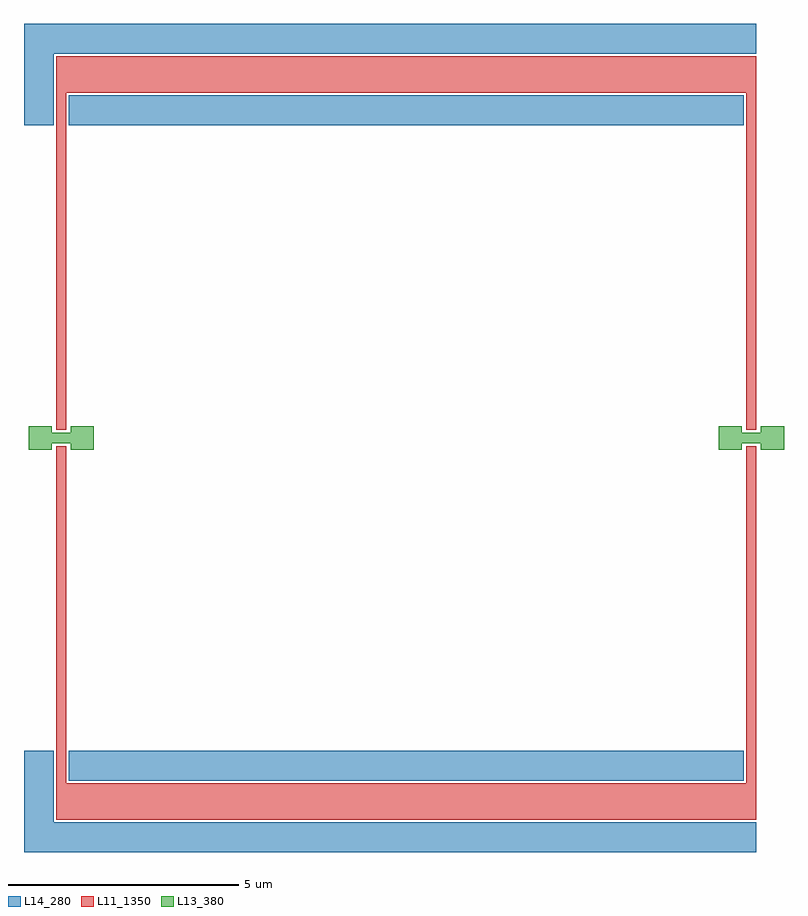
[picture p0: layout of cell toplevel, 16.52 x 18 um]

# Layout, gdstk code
import gdstk
lib = gdstk.Library(unit=1e-6, precision=1e-09)
def R(c, l, rs):  # rectangles x0, y0, x1, y1
    for r in rs: c.add(gdstk.rectangle(r[:2], r[2:], *l))
def P(c, l, *ps):  # polygons
    for p in ps: c.add(gdstk.Polygon(p, *l))
L11_1350 = (11, 1350)
L13_380 = (13, 380)
L14_280 = (14, 280)

boolean = lib.new_cell('boolean')
R(boolean, L11_1350, [(-0.11,-7.5,0.11,-0.175), (-0.11,0.175,0.11,7.5)])

junction = lib.new_cell('Junction')
junction.add(gdstk.Reference(boolean, (0,0)))

boolean002 = lib.new_cell('boolean002')
P(boolean002, L13_380, [(-0.71,0.25),(-0.71,-0.25),(-0.21,-0.25),(-0.21,-0.11),(0.21,-0.11),(0.21,-0.25),(0.71,-0.25),(0.71,0.25),(0.21,0.25),(0.21,0.11),(-0.21,0.11),(-0.21,0.25)])

josephson_junction = lib.new_cell('Josephson Junction')
josephson_junction.add(gdstk.Reference(junction, (0,0)))
josephson_junction.add(gdstk.Reference(boolean002, (0,0)))

boolean005 = lib.new_cell('boolean005')
R(boolean005, L11_1350, [(-0.11,-7.5,0.11,-0.175), (-0.11,0.175,0.11,7.5)])

junction004 = lib.new_cell('Junction004')
junction004.add(gdstk.Reference(boolean005, (0,0)))

boolean006 = lib.new_cell('boolean006')
P(boolean006, L13_380, [(-0.71,0.25),(-0.71,-0.25),(-0.21,-0.25),(-0.21,-0.11),(0.21,-0.11),(0.21,-0.25),(0.71,-0.25),(0.71,0.25),(0.21,0.25),(0.21,0.11),(-0.21,0.11),(-0.21,0.25)])

josephson_junction003 = lib.new_cell('Josephson Junction003')
josephson_junction003.add(gdstk.Reference(junction004, (0,0)))
josephson_junction003.add(gdstk.Reference(boolean006, (0,0)))

rectangle = lib.new_cell('rectangle')
R(rectangle, L11_1350, [(0,0,15.22,0.8)])

island = lib.new_cell('Island')
island.add(gdstk.Reference(rectangle, (0,0)))

top_island = lib.new_cell('Top island')
top_island.add(gdstk.Reference(island, (-0.11,7.5)))

rectangle008 = lib.new_cell('rectangle008')
R(rectangle008, L11_1350, [(0,0,15.22,0.8)])

island007 = lib.new_cell('Island007')
island007.add(gdstk.Reference(rectangle008, (0,0)))

bot_island = lib.new_cell('Bot island')
bot_island.add(gdstk.Reference(island007, (-0.11,-8.3)))

boolean010 = lib.new_cell('boolean010')
R(boolean010, L14_280, [(0.16,-7.45,14.84,-6.8), (0.16,6.8,14.84,7.45)])
P(boolean010, L14_280, [(-0.16,8.35),(15.11,8.35),(15.11,9),(-0.81,9),(-0.81,6.8),(-0.16,6.8)],
  [(-0.81,-6.8),(-0.81,-9),(15.11,-9),(15.11,-8.35),(-0.16,-8.35),(-0.16,-6.8)])

liftoff_undercut009 = lib.new_cell('Liftoff undercut009')
liftoff_undercut009.add(gdstk.Reference(boolean010, (0,0)))

liftoff_undercut = lib.new_cell('Liftoff undercut')
liftoff_undercut.add(gdstk.Reference(liftoff_undercut009, (0,0)))

toplevel = lib.new_cell('toplevel')
toplevel.add(gdstk.Reference(josephson_junction, (-7.5,0)))
toplevel.add(gdstk.Reference(josephson_junction003, (7.5,0)))
toplevel.add(gdstk.Reference(top_island, (-7.5,0)))
toplevel.add(gdstk.Reference(bot_island, (-7.5,0)))
toplevel.add(gdstk.Reference(liftoff_undercut, (-7.5,0)))

lib.write_gds('toplevel.gds')
